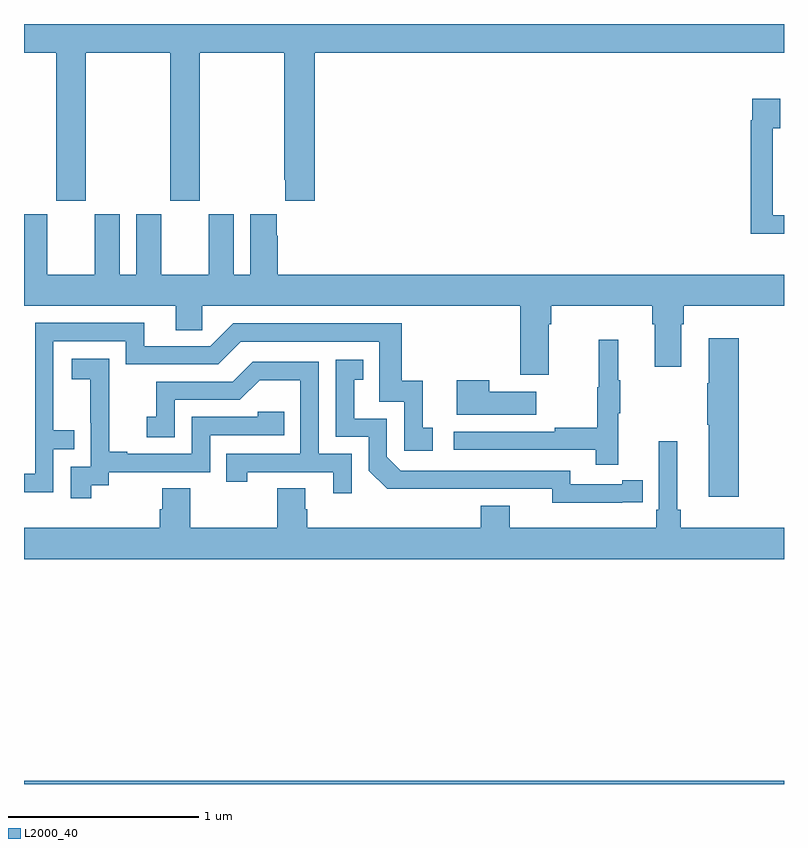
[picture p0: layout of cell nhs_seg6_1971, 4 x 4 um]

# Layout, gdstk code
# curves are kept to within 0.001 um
import gdstk
lib = gdstk.Library(unit=1e-6, precision=1e-09)
def R(c, l, rs):  # rectangles x0, y0, x1, y1
    for r in rs: c.add(gdstk.rectangle(r[:2], r[2:], *l))
def P(c, l, *ps):  # polygons
    for p in ps: c.add(gdstk.Polygon(p, *l))
L2000_40 = (2000, 40)

nhs_seg6_1971 = lib.new_cell('nhs_seg6_1971')
R(nhs_seg6_1971, L2000_40, [(229,931.5,233,931.516)])
P(nhs_seg6_1971, L2000_40, [(230.371,934.681),(230.375,934.681),(230.375,934.569),(230.531,934.569),(230.531,935.348),(233,935.348),(233,935.5),(229,935.5),(229,935.348),(229.171,935.348),(229.171,934.569),(229.326,934.569),(229.326,935.348),(229.771,935.348),(229.771,934.569),(229.926,934.569),(229.926,935.348),(230.371,935.348)],
  [(233,934.494),(232.941,934.494),(232.941,934.951),(232.981,934.951),(232.981,935.107),(232.833,935.107),(232.833,934.994),(232.825,934.994),(232.825,934.397),(233,934.397)],
  [(230.336,934.385),(230.329,934.385),(230.329,934.498),(230.192,934.498),(230.192,934.18),(230.104,934.18),(230.104,934.498),(229.973,934.498),(229.973,934.18),(229.723,934.18),(229.723,934.498),(229.592,934.498),(229.592,934.18),(229.504,934.18),(229.504,934.498),(229.373,934.498),(229.373,934.18),(229.123,934.18),(229.123,934.498),(229,934.498),(229,934.016),(229.799,934.016),(229.799,933.889),(229.938,933.889),(229.938,934.016),(231.611,934.016),(231.611,933.654),(231.763,933.654),(231.763,933.92),(231.776,933.92),(231.776,934.016),(232.307,934.016),(232.307,933.92),(232.319,933.92),(232.319,933.696),(232.459,933.696),(232.459,933.92),(232.472,933.92),(232.472,934.016),(233,934.016),(233,934.18),(230.336,934.18)],
  [(229.155,933.261),(229.265,933.261),(229.265,933.362),(229.155,933.362),(229.155,933.831),(229.536,933.831),(229.536,933.708),(230.022,933.708),(230.142,933.828),(230.871,933.828),(230.871,933.513),(231,933.513),(231,933.255),(231.151,933.255),(231.151,933.375),(231.098,933.375),(231.098,933.622),(230.987,933.622),(230.987,933.924),(230.1,933.924),(229.98,933.804),(229.633,933.804),(229.633,933.927),(229.059,933.927),(229.059,933.132),(229,933.132),(229,933.036),(229.155,933.036)],
  [(232.763,933.847),(232.604,933.847),(232.604,933.608),(232.597,933.608),(232.597,933.391),(232.604,933.391),(232.604,933.012),(232.763,933.012)],
  [(232.127,933.451),(232.138,933.451),(232.138,933.625),(232.127,933.625),(232.127,933.838),(232.024,933.838),(232.024,933.588),(232.017,933.588),(232.017,933.374),(231.793,933.374),(231.793,933.354),(231.261,933.354),(231.261,933.258),(232.009,933.258),(232.009,933.18),(232.127,933.18)],
  [(229.354,933.073),(229.446,933.073),(229.446,933.141),(229.98,933.141),(229.98,933.336),(230.369,933.336),(230.369,933.459),(230.229,933.459),(230.229,933.432),(229.884,933.432),(229.884,933.237),(229.543,933.237),(229.543,933.25),(229.448,933.25),(229.448,933.533),(229.449,933.533),(229.449,933.739),(229.251,933.739),(229.251,933.629),(229.349,933.629),(229.349,933.401),(229.35,933.401),(229.35,933.171),(229.245,933.171),(229.245,933.003),(229.354,933.003)],
  [(232.148,932.982),(232.256,932.982),(232.256,933.098),(232.148,933.098),(232.148,933.078),(231.876,933.078),(231.876,933.15),(230.982,933.15),(230.91,933.222),(230.91,933.423),(230.737,933.423),(230.737,933.627),(230.786,933.627),(230.786,933.733),(230.64,933.733),(230.64,933.327),(230.814,933.327),(230.814,933.15),(230.912,933.053),(231.78,933.054),(231.78,932.981)],
  [(230.724,933.237),(230.55,933.237),(230.55,933.723),(230.204,933.723),(230.099,933.618),(229.696,933.618),(229.696,933.433),(229.647,933.433),(229.647,933.324),(229.794,933.324),(229.794,933.522),(230.136,933.522),(230.24,933.626),(230.454,933.626),(230.454,933.237),(230.065,933.237),(230.065,933.09),(230.176,933.09),(230.176,933.141),(230.627,933.141),(230.627,933.03),(230.724,933.03)],
  [(231.697,933.565),(231.449,933.565),(231.449,933.625),(231.278,933.625),(231.278,933.443),(231.697,933.443)],
  [(230.332,933.056),(230.332,932.848),(229.875,932.848),(229.875,933.056),(229.727,933.056),(229.727,932.946),(229.715,932.946),(229.715,932.848),(229,932.848),(229,932.684),(233,932.684),(233,932.848),(232.457,932.848),(232.457,932.944),(232.438,932.944),(232.438,933.304),(232.341,933.304),(232.341,932.944),(232.328,932.944),(232.328,932.848),(231.556,932.848),(231.556,932.965),(231.404,932.965),(231.404,932.848),(230.492,932.848),(230.492,932.946),(230.479,932.946),(230.479,933.056)])

lib.write_gds('nhs_seg6_1971.gds')
